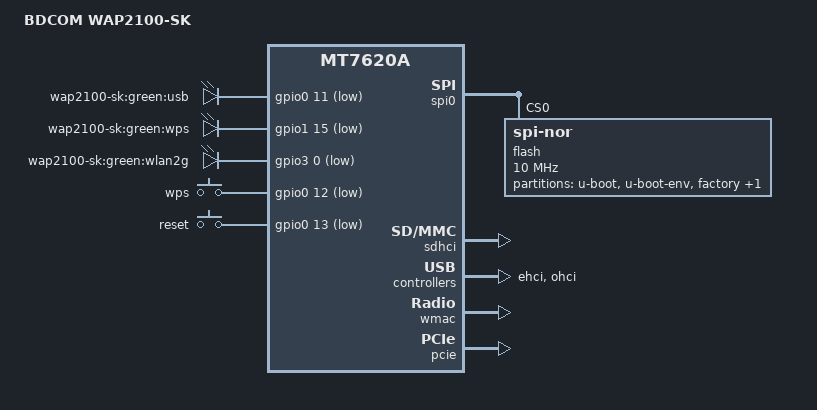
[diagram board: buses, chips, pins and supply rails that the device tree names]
// SPDX-License-Identifier: GPL-2.0-or-later OR MIT
/dts-v1/;

#include "mt7620a.dtsi"

#include <dt-bindings/gpio/gpio.h>
#include <dt-bindings/input/input.h>

/ {
	compatible = "bdcom,wap2100-sk", "ralink,mt7620a-soc";
	model = "BDCOM WAP2100-SK";

	aliases {
		led-boot = &led_power;
		led-failsafe = &led_power;
	};

	chosen {
		bootargs = "console=ttyS0,115200";
	};

	leds {
		compatible = "gpio-leds";

		usb {
			label = "wap2100-sk:green:usb";
			gpios = <&gpio0 11 GPIO_ACTIVE_LOW>;
			trigger-sources = <&ohci_port1>, <&ehci_port1>;
			linux,default-trigger = "usbport";
		};

		led_power: wps {
			label = "wap2100-sk:green:wps";
			gpios = <&gpio1 15 GPIO_ACTIVE_LOW>;
		};

		wlan2g {
			label = "wap2100-sk:green:wlan2g";
			gpios = <&gpio3 0 GPIO_ACTIVE_LOW>;
		};
	};

	keys {
		compatible = "gpio-keys-polled";
		poll-interval = <20>;

		wps {
			label = "wps";
			gpios = <&gpio0 12 GPIO_ACTIVE_LOW>;
			linux,code = <KEY_WPS_BUTTON>;
		};

		reset {
			label = "reset";
			gpios = <&gpio0 13 GPIO_ACTIVE_LOW>;
			linux,code = <KEY_RESTART>;
		};
	};
};

&spi0 {
	status = "okay";

	flash@0 {
		compatible = "jedec,spi-nor";
		reg = <0>;
		spi-max-frequency = <10000000>;

		partitions {
			compatible = "fixed-partitions";
			#address-cells = <1>;
			#size-cells = <1>;

			partition@0 {
				label = "u-boot";
				reg = <0x0 0x30000>;
				read-only;
			};

			partition@30000 {
				label = "u-boot-env";
				reg = <0x30000 0x10000>;
				read-only;
			};

			factory: partition@40000 {
				label = "factory";
				reg = <0x40000 0x10000>;
				read-only;
			};

			partition@50000 {
				compatible = "denx,uimage";
				label = "firmware";
				reg = <0x50000 0xf70000>;
			};
		};
	};
};

&gpio0 {
	status = "okay";
};

&gpio1 {
	status = "okay";
};

&gpio3 {
	status = "okay";
};

&sdhci {
	status = "okay";
};

&ehci {
	status = "okay";
};

&ohci {
	status = "okay";
};

&ethernet {
	mtd-mac-address = <&factory 0x4>;
	mediatek,portmap = "llllw";
};

&wmac {
	ralink,mtd-eeprom = <&factory 0>;
};

&pcie {
	status = "okay";
};

&pcie0 {
	wifi@0,0 {
		reg = <0x0000 0 0 0 0>;
		mediatek,mtd-eeprom = <&factory 0x8000>;
		ieee80211-freq-limit = <5000000 6000000>;
	};
};

&pinctrl {
	state_default: pinctrl0 {
		default {
			ralink,group = "spi refclk", "uartf", "wled";
			ralink,function = "gpio";
		};
	};
};
